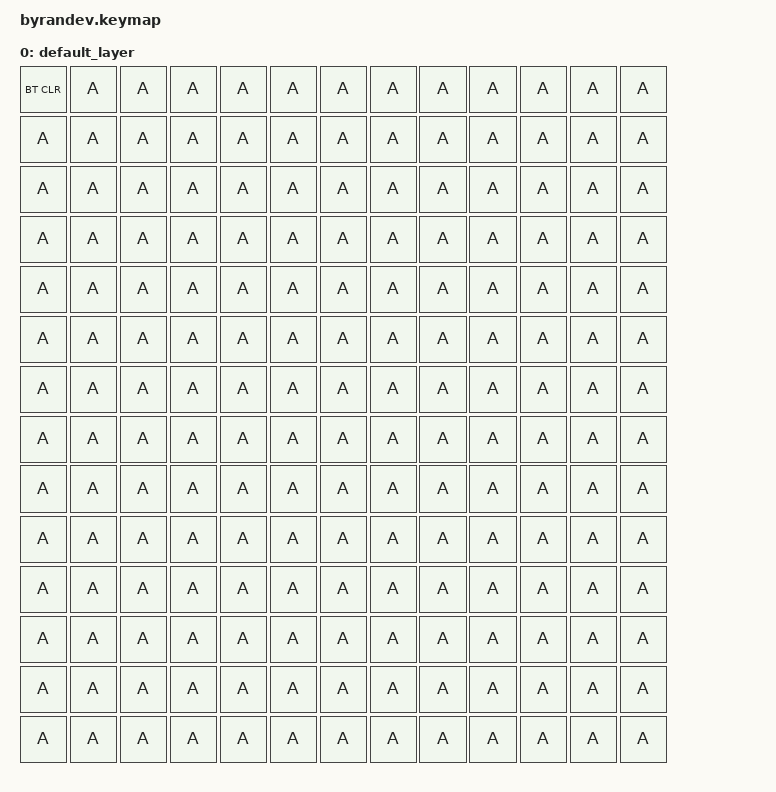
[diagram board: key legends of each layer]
/*
 * Copyright (c) 2021 Byran
 *
 * SPDX-License-Identifier: MIT
 */

#include <behaviors.dtsi>
#include <dt-bindings/zmk/keys.h>
#include <dt-bindings/zmk/bt.h>

/ {
	keymap {
		compatible = "zmk,keymap";

		default_layer {
			bindings = <
	&bt BT_CLR &kp A &kp A &kp A &kp A &kp A &kp A &kp A &kp A &kp A &kp A &kp A &kp A
	&kp A &kp A &kp A &kp A &kp A &kp A &kp A &kp A &kp A &kp A &kp A &kp A &kp A
	&kp A &kp A &kp A &kp A &kp A &kp A &kp A &kp A &kp A &kp A &kp A &kp A &kp A
	&kp A &kp A &kp A &kp A &kp A &kp A &kp A &kp A &kp A &kp A &kp A &kp A &kp A
	&kp A &kp A &kp A &kp A &kp A &kp A &kp A &kp A &kp A &kp A &kp A &kp A &kp A
	&kp A &kp A &kp A &kp A &kp A &kp A &kp A &kp A &kp A &kp A &kp A &kp A &kp A
	&kp A &kp A &kp A &kp A &kp A &kp A &kp A &kp A &kp A &kp A &kp A &kp A &kp A
	&kp A &kp A &kp A &kp A &kp A &kp A &kp A &kp A &kp A &kp A &kp A &kp A &kp A
	&kp A &kp A &kp A &kp A &kp A &kp A &kp A &kp A &kp A &kp A &kp A &kp A &kp A
	&kp A &kp A &kp A &kp A &kp A &kp A &kp A &kp A &kp A &kp A &kp A &kp A &kp A
	&kp A &kp A &kp A &kp A &kp A &kp A &kp A &kp A &kp A &kp A &kp A &kp A &kp A
	&kp A &kp A &kp A &kp A &kp A &kp A &kp A &kp A &kp A &kp A &kp A &kp A &kp A
	&kp A &kp A &kp A &kp A &kp A &kp A &kp A &kp A &kp A &kp A &kp A &kp A &kp A
	&kp A &kp A &kp A &kp A &kp A &kp A &kp A &kp A &kp A &kp A &kp A &kp A &kp A
			>;
		};
	};
};
